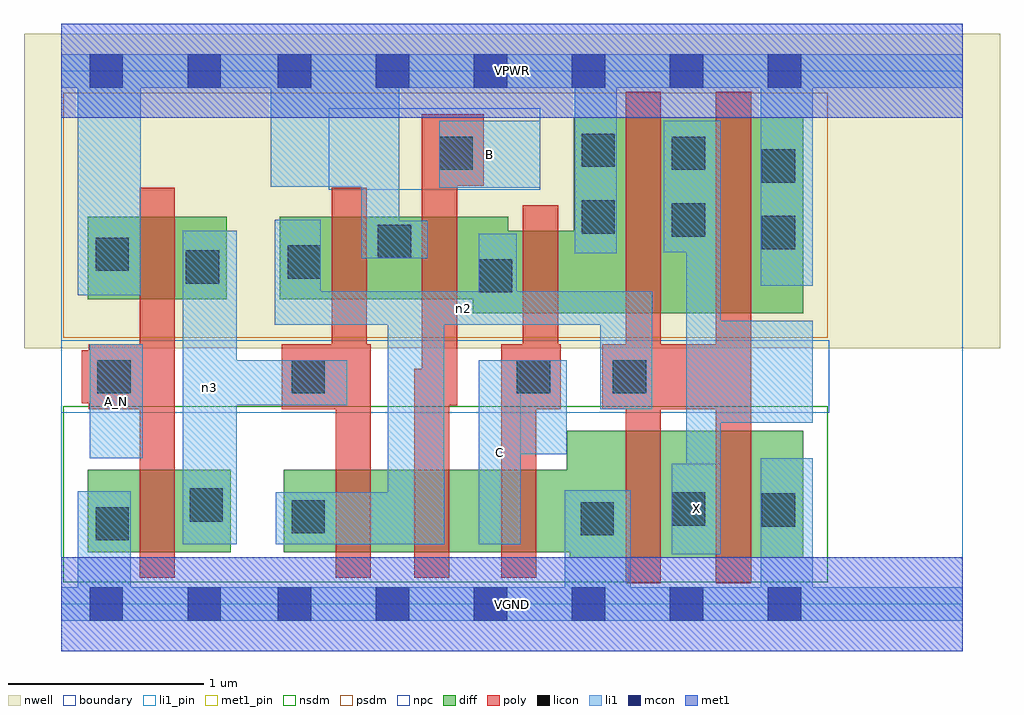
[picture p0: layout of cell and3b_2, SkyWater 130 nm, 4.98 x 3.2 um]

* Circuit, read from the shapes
.subckt and3b_2 A_N B C VGND VPWR X n2 n3
XM1 n3 A_N VGND VSUBS sky130_fd_pr__nfet_01v8 w=0.42 l=0.18
XM2 n1 n3 n2 VSUBS sky130_fd_pr__nfet_01v8 w=0.42 l=0.18
XM3 n4 B n1 VSUBS sky130_fd_pr__nfet_01v8 w=0.42 l=0.18
XM4 VGND C n4 VSUBS sky130_fd_pr__nfet_01v8 w=0.42 l=0.18
XM5 X n2 VGND VSUBS sky130_fd_pr__nfet_01v8 w=0.65 l=0.18 m=2
XM6 n3 A_N VPWR n5 sky130_fd_pr__pfet_01v8 w=0.42 l=0.18
XM7 VPWR n3 n2 n5 sky130_fd_pr__pfet_01v8 w=0.42 l=0.18
XM8 n2 B VPWR n5 sky130_fd_pr__pfet_01v8 w=0.42 l=0.18
XM9 VPWR C n2 n5 sky130_fd_pr__pfet_01v8 w=0.42 l=0.18
XM10 X n2 VPWR n5 sky130_fd_pr__pfet_01v8 w=1 l=0.18 m=2
.ends

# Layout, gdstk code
import gdstk
lib = gdstk.Library(unit=1e-6, precision=1e-09)
def R(c, l, rs):  # rectangles x0, y0, x1, y1
    for r in rs: c.add(gdstk.rectangle(r[:2], r[2:], *l))
def A(c, l, x, y, w, h, nx, ny, dx, dy):  # array of equal rectangles
    R(c, l, [(x+i*dx, y+j*dy, x+i*dx+w, y+j*dy+h) for i in range(nx) for j in range(ny)])
nwell = (64, 20)
diff = (65, 20)
poly = (66, 20)
licon = (66, 44)
li1_pin = (67, 16)
li1 = (67, 20)
mcon = (67, 44)
met1_pin = (68, 16)
met1 = (68, 20)
nsdm = (93, 44)
psdm = (94, 20)
npc = (95, 20)
boundary = (235, 4)

and3b_2 = lib.new_cell('and3b_2')
R(and3b_2, nwell, [(-0.19,1.305,4.79,2.91), (0,1.305,4.6,2.91)])
R(and3b_2, diff, [(2.595,0.235,3.785,0.885), (0.135,0.265,0.865,0.685), (1.135,0.265,3.785,0.685), (2.58,0.265,3.785,0.885), (2.1,1.485,3.785,1.905), (2.615,1.485,3.785,2.485), (0.135,1.555,0.845,1.975), (1.115,1.555,2.28,1.975)])
R(and3b_2, poly, [(2.88,0.105,3.06,2.615), (3.34,0.105,3.52,2.615), (0.4,0.135,0.58,2.125), (1.4,0.135,1.58,1.325), (1.8,0.135,1.98,1.2), (2.245,0.135,2.425,1.325), (0.14,0.995,0.58,1.325), (1.125,0.995,1.58,1.325), (1.38,0.995,1.56,2.125), (2.245,0.995,2.55,1.325), (2.355,0.995,2.535,2.035), (2.76,0.995,3.52,1.325), (1.84,1.015,2.02,2.5), (0.105,1.025,0.58,1.295), (1.84,2.135,2.155,2.5)])
R(and3b_2, licon, [(0.175,0.325,0.345,0.495), (2.65,0.35,2.82,0.52), (1.175,0.36,1.345,0.53), (3.575,0.395,3.745,0.565), (3.115,0.4,3.285,0.57), (0.655,0.42,0.825,0.59), (0.185,1.075,0.355,1.245), (1.175,1.075,1.345,1.245), (2.325,1.075,2.495,1.245), (2.815,1.075,2.985,1.245), (2.13,1.59,2.3,1.76), (0.635,1.635,0.805,1.805), (1.155,1.66,1.325,1.83), (0.175,1.7,0.345,1.87), (1.615,1.765,1.785,1.935), (3.575,1.81,3.745,1.98), (3.115,1.875,3.285,2.045), (2.655,1.89,2.825,2.06), (3.575,2.15,3.745,2.32), (1.93,2.215,2.1,2.385), (3.115,2.215,3.285,2.385), (2.655,2.23,2.825,2.4)])
R(and3b_2, li1_pin, [(3.115,0.255,3.365,0.715), (2.13,0.305,2.345,1.245), (0.145,0.745,0.415,1.325), (1.93,2.125,2.445,2.465)])
R(and3b_2, li1, [(0,-0.085,4.6,0.085), (0.085,-0.085,0.355,0.575), (2.57,-0.085,2.905,0.58), (3.57,-0.085,3.835,0.745), (3.115,0.255,3.365,0.715), (3.19,0.255,3.365,2.465), (0.62,0.305,0.895,1.905), (1.095,0.305,1.955,0.57), (1.665,0.305,1.955,1.595), (2.13,0.305,2.345,1.245), (0.145,0.745,0.415,1.325), (2.13,0.765,2.58,1.245), (3.19,0.925,3.835,1.445), (2.75,0.995,3.015,1.595), (0.62,1.015,1.46,1.245), (1.09,1.425,3.015,1.595), (1.09,1.425,1.325,1.96), (2.13,1.425,2.325,1.89), (0.085,1.575,0.405,2.805), (3.57,1.625,3.835,2.805), (1.53,1.765,1.725,2.805), (1.53,1.765,1.87,1.955), (2.62,1.79,2.835,2.805), (3.075,1.795,3.365,2.465), (1.93,2.125,2.445,2.465), (1.07,2.13,1.725,2.805), (0,2.635,4.6,2.805)])
A(and3b_2, mcon, 1.105, -0.085, 0.17, 0.17, 6, 2, 0.5, 2.72)
R(and3b_2, mcon, [(0.145,-0.085,0.315,0.085), (0.645,-0.085,0.815,0.085), (0.145,2.635,0.315,2.805), (0.645,2.635,0.815,2.805)])
R(and3b_2, met1_pin, [(0,-0.24,4.6,0.24), (0,2.48,4.6,2.96)])
R(and3b_2, met1, [(0,-0.24,4.6,0.24), (0,2.48,4.6,2.96)])
R(and3b_2, nsdm, [(0.01,0.11,3.91,1.01)])
R(and3b_2, psdm, [(0.01,1.36,3.91,2.61)])
R(and3b_2, npc, [(0,0.975,3.92,1.345), (1.365,2.115,2.445,2.53)])
R(and3b_2, boundary, [(0,0,4.6,2.72)])
and3b_2.add(gdstk.Label('A_N', (0.28,1.035), layer=67, texttype=5))
and3b_2.add(gdstk.Label('B', (2.187,2.295), layer=67, texttype=5))
and3b_2.add(gdstk.Label('C', (2.237,0.775), layer=67, texttype=5))
and3b_2.add(gdstk.Label('X', (3.24,0.485), layer=67, texttype=5))
and3b_2.add(gdstk.Label('n3', (0.757,1.105), layer=67, texttype=5))
and3b_2.add(gdstk.Label('n2', (2.052,1.51), layer=67, texttype=5))
and3b_2.add(gdstk.Label('VPWR', (2.3,2.72), layer=68, texttype=5))
and3b_2.add(gdstk.Label('VGND', (2.3,0), layer=68, texttype=5))
and3b_2.add(gdstk.Label('A_N', (0.28,1.035), layer=67, texttype=16))
and3b_2.add(gdstk.Label('B', (2.187,2.295), layer=67, texttype=16))
and3b_2.add(gdstk.Label('C', (2.237,0.775), layer=67, texttype=16))
and3b_2.add(gdstk.Label('X', (3.24,0.485), layer=67, texttype=16))
and3b_2.add(gdstk.Label('VPWR', (2.3,2.72), layer=68, texttype=16))
and3b_2.add(gdstk.Label('VGND', (2.3,0), layer=68, texttype=16))

lib.write_gds('and3b_2.gds')
